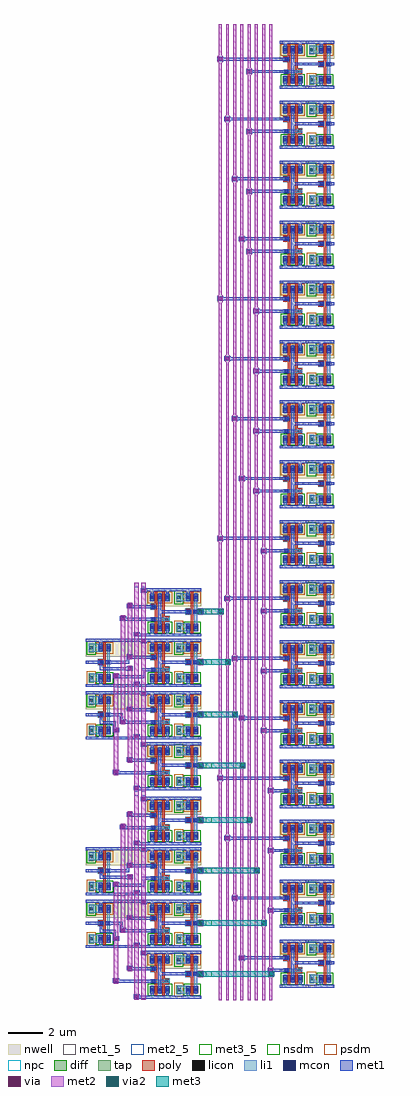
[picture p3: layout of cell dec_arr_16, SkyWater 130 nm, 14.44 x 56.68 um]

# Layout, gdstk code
import gdstk
lib = gdstk.Library(unit=1e-6, precision=5e-09)
def R(c, l, rs):  # rectangles x0, y0, x1, y1
    for r in rs: c.add(gdstk.rectangle(r[:2], r[2:], *l))
def A(c, l, x, y, w, h, nx, ny, dx, dy):  # array of equal rectangles
    R(c, l, [(x+i*dx, y+j*dy, x+i*dx+w, y+j*dy+h) for i in range(nx) for j in range(ny)])
nwell = (64, 20)
diff = (65, 20)
tap = (65, 44)
poly = (66, 20)
licon = (66, 44)
li1 = (67, 20)
mcon = (67, 44)
met1_5 = (68, 5)
met1 = (68, 20)
via = (68, 44)
met2_5 = (69, 5)
met2 = (69, 20)
via2 = (69, 44)
met3_5 = (70, 5)
met3 = (70, 20)
nsdm = (93, 44)
psdm = (94, 20)
npc = (95, 20)

nand2_f = lib.new_cell('nand2_f')
R(nand2_f, nwell, [(0,2.44,1.53,3.48)])
R(nand2_f, diff, [(0.18,1.005,1.35,1.425), (0.18,2.75,1.35,3.17)])
R(nand2_f, poly, [(0.47,0.875,0.62,2.26), (0.91,0.875,1.06,1.535), (0.91,1.535,1.31,1.865), (0.91,1.865,1.06,3.3), (0.22,2.26,0.62,2.59), (0.47,2.59,0.62,3.3)])
A(nand2_f, licon, 0.24, 1.13, 0.17, 0.17, 3, 2, 0.44, 1.745)
R(nand2_f, licon, [(1.06,1.615,1.23,1.785), (0.3,2.34,0.47,2.51)])
A(nand2_f, li1, 0.24, 0.985, 0.17, 0.46, 3, 2, 0.44, 1.745)
R(nand2_f, li1, [(0.24,1.615,1.31,1.785), (0.22,2.34,0.55,2.51)])
A(nand2_f, mcon, 0.24, 1.13, 0.17, 0.17, 3, 2, 0.44, 1.745)
R(nand2_f, mcon, [(0.3,1.615,0.47,1.785), (0.3,2.34,0.47,2.51)])
R(nand2_f, met1_5, [(0,0.69,0.17,0.86), (0,1.615,0.17,1.785), (1.36,2.05,1.53,2.22), (0,2.34,0.17,2.51), (0,3.31,0.17,3.48)])
A(nand2_f, met1, 0.21, 1.005, 0.23, 0.42, 3, 2, 0.44, 1.745)
R(nand2_f, met1, [(0,0.69,1.53,0.86), (0.24,0.86,0.41,1.005), (1.12,0.86,1.29,1.005), (0.68,1.425,0.85,2.05), (0.24,1.585,0.53,1.615), (0,1.615,0.53,1.785), (0.24,1.785,0.53,1.815), (0.68,2.05,1.53,2.22), (0.68,2.22,0.85,2.75), (0.24,2.31,0.53,2.34), (0,2.34,0.53,2.51), (0.24,2.51,0.53,2.54), (0.24,3.17,0.41,3.31), (1.12,3.17,1.29,3.31), (0,3.31,1.53,3.48)])
R(nand2_f, nsdm, [(0.055,0.88,1.475,1.55)])
R(nand2_f, psdm, [(0.055,2.625,1.475,3.295)])
R(nand2_f, npc, [(0.96,1.515,1.33,1.885), (0.2,2.24,0.57,2.61)])
nand2_f.add(gdstk.Label('VDD', (0.085,3.395), layer=68, texttype=5))
nand2_f.add(gdstk.Label('A', (0.085,2.425), layer=68, texttype=5))
nand2_f.add(gdstk.Label('B', (0.085,1.7), layer=68, texttype=5))
nand2_f.add(gdstk.Label('VSS', (0.085,0.775), layer=68, texttype=5))
nand2_f.add(gdstk.Label('Y', (1.445,2.135), layer=68, texttype=5))

not_f = lib.new_cell('not_f')
R(not_f, nwell, [(0,2.44,1.65,3.48)])
R(not_f, diff, [(0.74,1.005,1.47,1.425), (0.74,2.75,1.47,3.17)])
R(not_f, tap, [(0.18,0.945,0.47,1.485), (0.18,2.69,0.47,3.23)])
R(not_f, poly, [(1.03,0.875,1.18,1.97), (0.725,1.97,1.18,2.3), (1.03,2.3,1.18,3.3)])
R(not_f, licon, [(0.24,1.13,0.41,1.3), (0.8,1.13,0.97,1.3), (1.24,1.13,1.41,1.3), (0.805,2.05,0.975,2.22), (0.24,2.875,0.41,3.045), (0.8,2.875,0.97,3.045), (1.24,2.875,1.41,3.045)])
R(not_f, li1, [(0.24,0.985,0.97,1.445), (1.24,0.985,1.41,3.19), (0.725,2.05,1.055,2.22), (0.18,2.73,0.97,3.19)])
R(not_f, mcon, [(0.8,1.13,0.97,1.3), (1.24,1.13,1.41,1.3), (0.805,2.05,0.975,2.22), (1.24,2.05,1.41,2.22), (0.8,2.875,0.97,3.045), (1.24,2.875,1.41,3.045)])
R(not_f, met1_5, [(0,0.69,0.17,0.86), (0,2.05,0.17,2.22), (1.48,2.05,1.65,2.22), (0,3.31,0.17,3.48)])
R(not_f, met1, [(0,0.69,1.65,0.86), (0.8,0.86,0.97,1.005), (0.77,1.005,1,1.425), (1.21,1.005,1.44,1.425), (0.745,2.02,1.035,2.05), (1.18,2.02,1.47,2.05), (0,2.05,1.035,2.22), (1.18,2.05,1.65,2.22), (0.745,2.22,1.035,2.25), (1.18,2.22,1.47,2.25), (0.77,2.75,1,3.17), (1.21,2.75,1.44,3.17), (0.8,3.17,0.97,3.31), (0,3.31,1.65,3.48)])
R(not_f, nsdm, [(0.615,0.88,1.595,1.55), (0.055,2.565,0.595,3.355)])
R(not_f, psdm, [(0.055,0.82,0.595,1.61), (0.615,2.625,1.595,3.295)])
R(not_f, npc, [(0.705,1.95,1.075,2.32)])
not_f.add(gdstk.Label('B', (1.565,2.135), layer=68, texttype=5))
not_f.add(gdstk.Label('VDD', (0.085,3.395), layer=68, texttype=5))
not_f.add(gdstk.Label('A', (0.085,2.135), layer=68, texttype=5))
not_f.add(gdstk.Label('VSS', (0.085,0.775), layer=68, texttype=5))

dec_2to4_f = lib.new_cell('dec_2to4_f')
R(dec_2to4_f, nwell, [(3.545,1.8,6.725,2.84), (0,4.75,6.725,5.79), (0,7.8,6.725,8.84), (3.545,10.73,6.725,11.77)])
R(dec_2to4_f, diff, [(3.725,0.365,4.895,0.785), (5.815,0.365,6.545,0.785), (3.725,2.11,4.895,2.53), (5.815,2.11,6.545,2.53), (0.74,3.315,1.47,3.735), (3.725,3.315,4.895,3.735), (5.815,3.315,6.545,3.735), (0.74,5.06,1.47,5.48), (3.725,5.06,4.895,5.48), (5.815,5.06,6.545,5.48), (0.74,6.365,1.47,6.785), (3.725,6.365,4.895,6.785), (5.815,6.365,6.545,6.785), (0.74,8.11,1.47,8.53), (3.725,8.11,4.895,8.53), (5.815,8.11,6.545,8.53), (3.725,9.295,4.895,9.715), (5.815,9.295,6.545,9.715), (3.725,11.04,4.895,11.46), (5.815,11.04,6.545,11.46)])
R(dec_2to4_f, tap, [(5.255,0.305,5.545,0.845), (5.255,2.05,5.545,2.59), (0.18,3.255,0.47,3.795), (5.255,3.255,5.545,3.795), (0.18,5,0.47,5.54), (5.255,5,5.545,5.54), (0.18,6.305,0.47,6.845), (5.255,6.305,5.545,6.845), (0.18,8.05,0.47,8.59), (5.255,8.05,5.545,8.59), (5.255,9.235,5.545,9.775), (5.255,10.98,5.545,11.52)])
R(dec_2to4_f, poly, [(4.015,0.235,4.165,1.62), (4.455,0.235,4.605,0.895), (6.105,0.235,6.255,1.33), (4.455,0.895,4.855,1.225), (4.455,1.225,4.605,2.66), (5.8,1.33,6.255,1.66), (3.765,1.62,4.165,1.95), (6.105,1.66,6.255,2.66), (4.015,1.95,4.165,2.66), (1.03,3.185,1.18,4.28), (4.015,3.185,4.165,4.57), (4.455,3.185,4.605,3.845), (6.105,3.185,6.255,4.28), (4.455,3.845,4.855,4.175), (4.455,4.175,4.605,5.61), (0.725,4.28,1.18,4.61), (5.8,4.28,6.255,4.61), (3.765,4.57,4.165,4.9), (1.03,4.61,1.18,5.61), (6.105,4.61,6.255,5.61), (4.015,4.9,4.165,5.61), (1.03,6.235,1.18,7.33), (4.015,6.235,4.165,7.62), (4.455,6.235,4.605,6.895), (6.105,6.235,6.255,7.33), (4.455,6.895,4.855,7.225), (4.455,7.225,4.605,8.66), (0.725,7.33,1.18,7.66), (5.8,7.33,6.255,7.66), (3.765,7.62,4.165,7.95), (1.03,7.66,1.18,8.66), (6.105,7.66,6.255,8.66), (4.015,7.95,4.165,8.66), (4.015,9.165,4.165,10.55), (4.455,9.165,4.605,9.825), (6.105,9.165,6.255,10.26), (4.455,9.825,4.855,10.155), (4.455,10.155,4.605,11.59), (5.8,10.26,6.255,10.59), (3.765,10.55,4.165,10.88), (6.105,10.59,6.255,11.59), (4.015,10.88,4.165,11.59)])
A(dec_2to4_f, licon, 3.785, 0.49, 0.17, 0.17, 3, 2, 0.44, 1.745)
A(dec_2to4_f, licon, 3.785, 3.44, 0.17, 0.17, 3, 2, 0.44, 1.745)
A(dec_2to4_f, licon, 3.785, 6.49, 0.17, 0.17, 3, 2, 0.44, 1.745)
A(dec_2to4_f, licon, 3.785, 9.42, 0.17, 0.17, 3, 2, 0.44, 1.745)
R(dec_2to4_f, licon, [(5.315,0.49,5.485,0.66), (5.875,0.49,6.045,0.66), (6.315,0.49,6.485,0.66), (4.605,0.975,4.775,1.145), (5.88,1.41,6.05,1.58), (3.845,1.7,4.015,1.87), (5.315,2.235,5.485,2.405), (5.875,2.235,6.045,2.405), (6.315,2.235,6.485,2.405), (0.24,3.44,0.41,3.61), (0.8,3.44,0.97,3.61), (1.24,3.44,1.41,3.61), (5.315,3.44,5.485,3.61), (5.875,3.44,6.045,3.61), (6.315,3.44,6.485,3.61), (4.605,3.925,4.775,4.095), (0.805,4.36,0.975,4.53), (5.88,4.36,6.05,4.53), (3.845,4.65,4.015,4.82), (0.24,5.185,0.41,5.355), (0.8,5.185,0.97,5.355), (1.24,5.185,1.41,5.355), (5.315,5.185,5.485,5.355), (5.875,5.185,6.045,5.355), (6.315,5.185,6.485,5.355), (0.24,6.49,0.41,6.66), (0.8,6.49,0.97,6.66), (1.24,6.49,1.41,6.66), (5.315,6.49,5.485,6.66), (5.875,6.49,6.045,6.66), (6.315,6.49,6.485,6.66), (4.605,6.975,4.775,7.145), (0.805,7.41,0.975,7.58), (5.88,7.41,6.05,7.58), (3.845,7.7,4.015,7.87), (0.24,8.235,0.41,8.405), (0.8,8.235,0.97,8.405), (1.24,8.235,1.41,8.405), (5.315,8.235,5.485,8.405), (5.875,8.235,6.045,8.405), (6.315,8.235,6.485,8.405), (5.315,9.42,5.485,9.59), (5.875,9.42,6.045,9.59), (6.315,9.42,6.485,9.59), (4.605,9.905,4.775,10.075), (5.88,10.34,6.05,10.51), (3.845,10.63,4.015,10.8), (5.315,11.165,5.485,11.335), (5.875,11.165,6.045,11.335), (6.315,11.165,6.485,11.335)])
A(dec_2to4_f, li1, 3.785, 0.345, 0.17, 0.46, 3, 2, 0.44, 1.745)
A(dec_2to4_f, li1, 3.785, 3.295, 0.17, 0.46, 3, 2, 0.44, 1.745)
A(dec_2to4_f, li1, 3.785, 6.345, 0.17, 0.46, 3, 2, 0.44, 1.745)
A(dec_2to4_f, li1, 3.785, 9.275, 0.17, 0.46, 3, 2, 0.44, 1.745)
R(dec_2to4_f, li1, [(5.315,0.345,6.045,0.805), (6.315,0.345,6.485,2.55), (3.785,0.975,4.855,1.145), (5.8,1.41,6.13,1.58), (3.765,1.7,4.095,1.87), (5.255,2.09,6.045,2.55), (0.24,3.295,0.97,3.755), (1.24,3.295,1.41,5.5), (5.315,3.295,6.045,3.755), (6.315,3.295,6.485,5.5), (3.785,3.925,4.855,4.095), (0.725,4.36,1.055,4.53), (5.8,4.36,6.13,4.53), (3.765,4.65,4.095,4.82), (0.18,5.04,0.97,5.5), (5.255,5.04,6.045,5.5), (0.24,6.345,0.97,6.805), (1.24,6.345,1.41,8.55), (5.315,6.345,6.045,6.805), (6.315,6.345,6.485,8.55), (3.785,6.975,4.855,7.145), (0.725,7.41,1.055,7.58), (5.8,7.41,6.13,7.58), (3.765,7.7,4.095,7.87), (0.18,8.09,0.97,8.55), (5.255,8.09,6.045,8.55), (5.315,9.275,6.045,9.735), (6.315,9.275,6.485,11.48), (3.785,9.905,4.855,10.075), (5.8,10.34,6.13,10.51), (3.765,10.63,4.095,10.8), (5.255,11.02,6.045,11.48)])
A(dec_2to4_f, mcon, 3.785, 0.49, 0.17, 0.17, 3, 2, 0.44, 1.745)
A(dec_2to4_f, mcon, 3.785, 3.44, 0.17, 0.17, 3, 2, 0.44, 1.745)
A(dec_2to4_f, mcon, 3.785, 6.49, 0.17, 0.17, 3, 2, 0.44, 1.745)
A(dec_2to4_f, mcon, 3.785, 9.42, 0.17, 0.17, 3, 2, 0.44, 1.745)
R(dec_2to4_f, mcon, [(5.875,0.49,6.045,0.66), (6.315,0.49,6.485,0.66), (3.845,0.975,4.015,1.145), (5.88,1.41,6.05,1.58), (6.315,1.41,6.485,1.58), (3.845,1.7,4.015,1.87), (5.875,2.235,6.045,2.405), (6.315,2.235,6.485,2.405), (0.8,3.44,0.97,3.61), (1.24,3.44,1.41,3.61), (5.875,3.44,6.045,3.61), (6.315,3.44,6.485,3.61), (3.845,3.925,4.015,4.095), (0.805,4.36,0.975,4.53), (1.24,4.36,1.41,4.53), (5.88,4.36,6.05,4.53), (6.315,4.36,6.485,4.53), (3.845,4.65,4.015,4.82), (0.8,5.185,0.97,5.355), (1.24,5.185,1.41,5.355), (5.875,5.185,6.045,5.355), (6.315,5.185,6.485,5.355), (0.8,6.49,0.97,6.66), (1.24,6.49,1.41,6.66), (5.875,6.49,6.045,6.66), (6.315,6.49,6.485,6.66), (3.845,6.975,4.015,7.145), (0.805,7.41,0.975,7.58), (1.24,7.41,1.41,7.58), (5.88,7.41,6.05,7.58), (6.315,7.41,6.485,7.58), (3.845,7.7,4.015,7.87), (0.8,8.235,0.97,8.405), (1.24,8.235,1.41,8.405), (5.875,8.235,6.045,8.405), (6.315,8.235,6.485,8.405), (5.875,9.42,6.045,9.59), (6.315,9.42,6.485,9.59), (3.845,9.905,4.015,10.075), (5.88,10.34,6.05,10.51), (6.315,10.34,6.485,10.51), (3.845,10.63,4.015,10.8), (5.875,11.165,6.045,11.335), (6.315,11.165,6.485,11.335)])
R(dec_2to4_f, met1_5, [(0,4.36,0.17,4.53), (0,7.41,0.17,7.58)])
A(dec_2to4_f, met1, 3.755, 0.365, 0.23, 0.42, 3, 2, 0.44, 1.745)
A(dec_2to4_f, met1, 3.755, 3.315, 0.23, 0.42, 3, 2, 0.44, 1.745)
A(dec_2to4_f, met1, 3.755, 6.365, 0.23, 0.42, 3, 2, 0.44, 1.745)
A(dec_2to4_f, met1, 3.755, 9.295, 0.23, 0.42, 3, 2, 0.44, 1.745)
R(dec_2to4_f, met1, [(2.785,0.05,6.725,0.22), (2.785,0.22,3.145,0.31), (3.785,0.22,3.955,0.365), (4.665,0.22,4.835,0.365), (5.875,0.22,6.045,0.365), (5.845,0.365,6.075,0.785), (6.285,0.365,6.515,0.785), (4.225,0.785,4.395,1.41), (3.785,0.945,4.075,0.975), (1.58,0.975,4.075,1.145), (1.58,1.145,1.94,1.235), (3.785,1.145,4.075,1.175), (6.495,1.365,6.855,1.38), (5.82,1.38,6.11,1.41), (6.255,1.38,6.855,1.61), (4.225,1.41,6.11,1.58), (4.225,1.58,4.395,2.11), (5.82,1.58,6.11,1.61), (6.495,1.61,6.855,1.625), (3.785,1.67,4.075,1.7), (2.385,1.7,4.075,1.87), (2.385,1.87,2.745,1.96), (3.785,1.87,4.075,1.9), (5.845,2.11,6.075,2.53), (6.285,2.11,6.515,2.53), (3.785,2.53,3.955,2.67), (4.665,2.53,4.835,2.67), (5.875,2.53,6.045,2.67), (3.185,2.58,3.545,2.67), (3.185,2.67,6.725,2.84), (0,3,6.725,3.17), (0.8,3.17,0.97,3.315), (2.785,3.17,3.145,3.31), (3.785,3.17,3.955,3.315), (4.665,3.17,4.835,3.315), (5.875,3.17,6.045,3.315), (0.77,3.315,1,3.735), (1.21,3.315,1.44,3.735), (5.845,3.315,6.075,3.735), (6.285,3.315,6.515,3.735), (1.585,3.41,1.945,3.67), (1.585,3.67,1.755,3.885), (4.225,3.735,4.395,4.36), (0.805,3.885,1.755,4.055), (3.785,3.895,4.075,3.925), (1.985,3.925,4.075,4.095), (0.805,4.055,0.975,4.33), (1.985,4.095,2.345,4.185), (3.785,4.095,4.075,4.125), (1.985,4.185,2.155,4.36), (6.495,4.315,6.855,4.33), (0.745,4.33,1.035,4.36), (1.18,4.33,1.47,4.36), (5.82,4.33,6.11,4.36), (6.255,4.33,6.855,4.56), (0,4.36,1.035,4.53), (1.18,4.36,2.155,4.53), (4.225,4.36,6.11,4.53), (0.745,4.53,1.035,4.56), (1.18,4.53,1.47,4.56), (4.225,4.53,4.395,5.06), (5.82,4.53,6.11,4.56), (6.495,4.56,6.855,4.575), (3.785,4.62,4.075,4.65), (2.385,4.65,4.075,4.82), (2.385,4.82,2.745,4.91), (3.785,4.82,4.075,4.85), (0.77,5.06,1,5.48), (1.21,5.06,1.44,5.48), (5.845,5.06,6.075,5.48), (6.285,5.06,6.515,5.48), (0.8,5.48,0.97,5.62), (3.785,5.48,3.955,5.62), (4.665,5.48,4.835,5.62), (5.875,5.48,6.045,5.62), (3.185,5.53,3.545,5.62), (0,5.62,6.725,5.79), (1.635,6.045,2.275,6.05), (0,6.05,6.725,6.22), (0.8,6.22,0.97,6.365), (2.785,6.22,3.145,6.36), (3.785,6.22,3.955,6.365), (4.665,6.22,4.835,6.365), (5.875,6.22,6.045,6.365), (0.77,6.365,1,6.785), (1.21,6.365,1.44,6.785), (5.845,6.365,6.075,6.785), (6.285,6.365,6.515,6.785), (1.585,6.55,3.405,6.72), (1.585,6.72,1.945,6.81), (3.235,6.72,3.405,6.975), (4.225,6.785,4.395,7.41), (3.785,6.945,4.075,6.975), (3.235,6.975,4.075,7.145), (2.385,6.98,2.745,7.025), (0.805,7.025,2.745,7.195), (3.785,7.145,4.075,7.175), (0.805,7.195,0.975,7.38), (2.385,7.195,2.745,7.24), (6.495,7.365,6.855,7.38), (0.745,7.38,1.035,7.41), (1.18,7.38,1.47,7.41), (5.82,7.38,6.11,7.41), (6.255,7.38,6.855,7.61), (0,7.41,1.035,7.58), (1.18,7.41,2.525,7.58), (4.225,7.41,6.11,7.58), (0.745,7.58,1.035,7.61), (1.18,7.58,1.47,7.61), (2.385,7.58,2.525,7.7), (4.225,7.58,4.395,8.11), (5.82,7.58,6.11,7.61), (6.495,7.61,6.855,7.625), (3.785,7.67,4.075,7.7), (2.385,7.7,4.075,7.87), (2.385,7.87,2.745,7.96), (3.785,7.87,4.075,7.9), (0.77,8.11,1,8.53), (1.21,8.11,1.44,8.53), (5.845,8.11,6.075,8.53), (6.285,8.11,6.515,8.53), (0.8,8.53,0.97,8.67), (3.785,8.53,3.955,8.67), (4.665,8.53,4.835,8.67), (5.875,8.53,6.045,8.67), (3.185,8.58,3.545,8.67), (0,8.67,6.725,8.84), (2.785,8.98,6.725,9.15), (2.785,9.15,3.145,9.24), (3.785,9.15,3.955,9.295), (4.665,9.15,4.835,9.295), (5.875,9.15,6.045,9.295), (5.845,9.295,6.075,9.715), (6.285,9.295,6.515,9.715), (4.225,9.715,4.395,10.34), (3.785,9.875,4.075,9.905), (1.985,9.905,4.075,10.075), (1.985,10.075,2.345,10.165), (3.785,10.075,4.075,10.105), (6.495,10.295,6.855,10.31), (5.82,10.31,6.11,10.34), (6.255,10.31,6.855,10.54), (4.225,10.34,6.11,10.51), (4.225,10.51,4.395,11.04), (5.82,10.51,6.11,10.54), (6.495,10.54,6.855,10.555), (3.785,10.6,4.075,10.63), (2.385,10.63,4.075,10.8), (2.385,10.8,2.745,10.89), (3.785,10.8,4.075,10.83), (5.845,11.04,6.075,11.46), (6.285,11.04,6.515,11.46), (3.785,11.46,3.955,11.6), (4.665,11.46,4.835,11.6), (5.875,11.46,6.045,11.6), (3.185,11.51,3.545,11.6), (3.185,11.6,6.725,11.77)])
R(dec_2to4_f, via, [(2.89,0.105,3.04,0.255), (1.685,1.03,1.835,1.18), (6.6,1.42,6.75,1.57), (2.49,1.755,2.64,1.905), (3.29,2.635,3.44,2.785), (2.89,3.105,3.04,3.255), (1.69,3.465,1.84,3.615), (2.09,3.98,2.24,4.13), (6.6,4.37,6.75,4.52), (2.49,4.705,2.64,4.855), (3.29,5.585,3.44,5.735), (2.89,6.155,3.04,6.305), (1.69,6.605,1.84,6.755), (2.49,7.035,2.64,7.185), (6.6,7.42,6.75,7.57), (2.49,7.755,2.64,7.905), (3.29,8.635,3.44,8.785), (2.89,9.035,3.04,9.185), (2.09,9.96,2.24,10.11), (6.6,10.35,6.75,10.5), (2.49,10.685,2.64,10.835), (3.29,11.565,3.44,11.715)])
R(dec_2to4_f, met2_5, [(2.835,11.85,3.095,12.11), (3.235,11.85,3.495,12.11)])
R(dec_2to4_f, met2, [(2.835,0,3.095,12.11), (3.235,0,3.495,12.11), (1.63,0.925,1.895,1.285), (1.635,1.285,1.895,6.86), (6.535,1.305,6.815,1.685), (2.435,1.655,2.695,7.28), (2.035,3.885,2.295,10.215), (6.535,4.255,6.815,4.635), (6.535,7.305,6.815,7.685), (2.435,7.67,2.695,10.94), (6.535,10.235,6.815,10.615)])
R(dec_2to4_f, via2, [(6.575,1.395,6.775,1.595), (6.575,4.345,6.775,4.545), (6.575,7.395,6.775,7.595), (6.575,10.325,6.775,10.525)])
R(dec_2to4_f, met3_5, [(6.98,1.33,7.31,1.66), (6.98,4.28,7.31,4.61), (6.98,7.33,7.31,7.66), (6.98,10.26,7.31,10.59)])
R(dec_2to4_f, met3, [(6.485,1.33,7.31,1.66), (6.485,4.28,7.31,4.61), (6.485,7.33,7.31,7.66), (6.485,10.26,7.31,10.59)])
R(dec_2to4_f, nsdm, [(3.6,0.24,5.02,0.91), (5.69,0.24,6.67,0.91), (5.13,1.925,5.67,2.715), (0.615,3.19,1.595,3.86), (3.6,3.19,5.02,3.86), (5.69,3.19,6.67,3.86), (0.055,4.875,0.595,5.665), (5.13,4.875,5.67,5.665), (0.615,6.24,1.595,6.91), (3.6,6.24,5.02,6.91), (5.69,6.24,6.67,6.91), (0.055,7.925,0.595,8.715), (5.13,7.925,5.67,8.715), (3.6,9.17,5.02,9.84), (5.69,9.17,6.67,9.84), (5.13,10.855,5.67,11.645)])
R(dec_2to4_f, psdm, [(5.13,0.18,5.67,0.97), (3.6,1.985,5.02,2.655), (5.69,1.985,6.67,2.655), (0.055,3.13,0.595,3.92), (5.13,3.13,5.67,3.92), (0.615,4.935,1.595,5.605), (3.6,4.935,5.02,5.605), (5.69,4.935,6.67,5.605), (0.055,6.18,0.595,6.97), (5.13,6.18,5.67,6.97), (0.615,7.985,1.595,8.655), (3.6,7.985,5.02,8.655), (5.69,7.985,6.67,8.655), (5.13,9.11,5.67,9.9), (3.6,10.915,5.02,11.585), (5.69,10.915,6.67,11.585)])
R(dec_2to4_f, npc, [(4.505,0.875,4.875,1.245), (5.78,1.31,6.15,1.68), (3.745,1.6,4.115,1.97), (4.505,3.825,4.875,4.195), (0.705,4.26,1.075,4.63), (5.78,4.26,6.15,4.63), (3.745,4.55,4.115,4.92), (4.505,6.875,4.875,7.245), (0.705,7.31,1.075,7.68), (5.78,7.31,6.15,7.68), (3.745,7.6,4.115,7.97), (4.505,9.805,4.875,10.175), (5.78,10.24,6.15,10.61), (3.745,10.53,4.115,10.9)])
dec_2to4_f.add(gdstk.Label('Y0', (7.145,10.425), layer=70, texttype=5))
dec_2to4_f.add(gdstk.Label('Y1', (7.145,7.495), layer=70, texttype=5))
dec_2to4_f.add(gdstk.Label('Y2', (7.145,4.445), layer=70, texttype=5))
dec_2to4_f.add(gdstk.Label('Y3', (7.145,1.495), layer=70, texttype=5))
dec_2to4_f.add(gdstk.Label('VSS', (2.965,11.98), layer=69, texttype=5))
dec_2to4_f.add(gdstk.Label('VDD', (3.365,11.98), layer=69, texttype=5))
dec_2to4_f.add(gdstk.Label('A1', (0.085,7.495), layer=68, texttype=5))
dec_2to4_f.add(gdstk.Label('A0', (0.085,4.445), layer=68, texttype=5))

dec_arr_16 = lib.new_cell('dec_arr_16')
A(dec_arr_16, met1, -0.685, 1.57, 0.36, 0.26, 1, 4, 0, 3.48)
A(dec_arr_16, met1, -0.505, 1.615, 0.59, 0.17, 1, 4, 0, 3.48)
A(dec_arr_16, met1, -2.365, 2.295, 0.36, 0.26, 1, 4, 0, 13.92)
A(dec_arr_16, met1, -2.185, 2.34, 2.27, 0.17, 1, 4, 0, 13.92)
A(dec_arr_16, met1, -2.785, 5.775, 0.36, 0.26, 1, 4, 0, 13.92)
A(dec_arr_16, met1, -2.605, 5.82, 2.69, 0.17, 1, 4, 0, 13.92)
A(dec_arr_16, met1, -3.205, 9.255, 0.36, 0.26, 1, 4, 0, 13.92)
A(dec_arr_16, met1, -3.025, 9.3, 3.11, 0.17, 1, 4, 0, 13.92)
A(dec_arr_16, met1, -3.625, 12.735, 0.36, 0.26, 1, 4, 0, 13.92)
A(dec_arr_16, met1, -3.445, 12.78, 3.53, 0.17, 1, 4, 0, 13.92)
A(dec_arr_16, met1, -1.105, 15.49, 0.36, 0.26, 1, 4, 0, 3.48)
A(dec_arr_16, met1, -0.925, 15.535, 1.01, 0.17, 1, 4, 0, 3.48)
A(dec_arr_16, met1, -1.525, 29.41, 0.36, 0.26, 1, 4, 0, 3.48)
A(dec_arr_16, met1, -1.345, 29.455, 1.43, 0.17, 1, 4, 0, 3.48)
A(dec_arr_16, met1, -1.945, 43.33, 0.36, 0.26, 1, 4, 0, 3.48)
A(dec_arr_16, met1, -1.765, 43.375, 1.85, 0.17, 1, 4, 0, 3.48)
A(dec_arr_16, via, -0.58, 1.625, 0.15, 0.15, 1, 4, 0, 3.48)
A(dec_arr_16, via, -2.26, 2.35, 0.15, 0.15, 1, 4, 0, 13.92)
A(dec_arr_16, via, -2.68, 5.83, 0.15, 0.15, 1, 4, 0, 13.92)
A(dec_arr_16, via, -3.1, 9.31, 0.15, 0.15, 1, 4, 0, 13.92)
A(dec_arr_16, via, -3.52, 12.79, 0.15, 0.15, 1, 4, 0, 13.92)
A(dec_arr_16, via, -1, 15.545, 0.15, 0.15, 1, 4, 0, 3.48)
A(dec_arr_16, via, -1.42, 29.465, 0.15, 0.15, 1, 4, 0, 3.48)
A(dec_arr_16, via, -1.84, 43.385, 0.15, 0.15, 1, 4, 0, 3.48)
A(dec_arr_16, met2, -3.53, -0.02, 0.17, 56.68, 8, 1, 0.42, 0)
A(dec_arr_16, met2, -0.645, 1.51, 0.28, 0.38, 1, 4, 0, 3.48)
A(dec_arr_16, met2, -1.065, 15.43, 0.28, 0.38, 1, 4, 0, 3.48)
A(dec_arr_16, met2, -2.325, 16.155, 0.28, 0.38, 1, 3, 0, 13.92)
A(dec_arr_16, met2, -2.745, 19.635, 0.28, 0.38, 1, 3, 0, 13.92)
A(dec_arr_16, met2, -3.165, 23.115, 0.28, 0.38, 1, 3, 0, 13.92)
A(dec_arr_16, met2, -3.585, 26.595, 0.28, 0.38, 1, 3, 0, 13.92)
A(dec_arr_16, met2, -1.485, 29.35, 0.28, 0.38, 1, 4, 0, 3.48)
A(dec_arr_16, met2, -1.905, 43.27, 0.28, 0.38, 1, 4, 0, 3.48)
R(dec_arr_16, met2, [(-0.645,1.305,-0.365,1.685), (-2.325,2.235,-2.045,2.615), (-1.065,4.255,-0.785,4.635), (-2.745,5.715,-2.465,6.095), (-1.485,7.305,-1.205,7.685), (-3.165,9.195,-2.885,9.575), (-1.905,10.235,-1.625,10.615), (-3.585,12.675,-3.305,13.055), (-2.325,13.415,-2.045,13.795), (-2.745,16.365,-2.465,16.745), (-3.165,19.415,-2.885,19.795), (-3.585,22.345,-3.305,22.725)])
R(dec_arr_16, via2, [(-0.605,1.395,-0.405,1.595), (-1.025,4.345,-0.825,4.545), (-1.445,7.395,-1.245,7.595), (-1.865,10.325,-1.665,10.525), (-2.285,13.505,-2.085,13.705), (-2.705,16.455,-2.505,16.655), (-3.125,19.505,-2.925,19.705), (-3.545,22.435,-3.345,22.635)])
R(dec_arr_16, met3, [(-4.115,1.33,-0.505,1.66), (-0.695,1.33,-0.315,1.66), (-4.115,4.28,-0.925,4.61), (-1.115,4.28,-0.735,4.61), (-4.115,7.33,-1.345,7.66), (-1.535,7.33,-1.155,7.66), (-4.115,10.26,-1.765,10.59), (-1.955,10.26,-1.575,10.59), (-4.115,13.44,-2.185,13.77), (-2.375,13.44,-1.995,13.77), (-4.115,16.39,-2.605,16.72), (-2.795,16.39,-2.415,16.72), (-4.115,19.44,-3.025,19.77), (-3.215,19.44,-2.835,19.77), (-4.115,22.37,-3.445,22.7), (-3.635,22.37,-3.255,22.7)])
r = gdstk.Reference(nand2_f, (0,0)); r.repetition = gdstk.Repetition(1, 16, v1=(1.53,0), v2=(0,3.48)); dec_arr_16.add(r)
r = gdstk.Reference(not_f, (1.53,0)); r.repetition = gdstk.Repetition(1, 16, v1=(1.65,0), v2=(0,3.48)); dec_arr_16.add(r)
dec_arr_16.add(gdstk.Reference(dec_2to4_f, (-11.26,0)))
r = gdstk.Reference(dec_2to4_f, (-11.26,12.11)); r.repetition = gdstk.Repetition(1, 1, v1=(7.31,0), v2=(0,12.11)); dec_arr_16.add(r)

lib.write_gds('dec_arr_16.gds')
